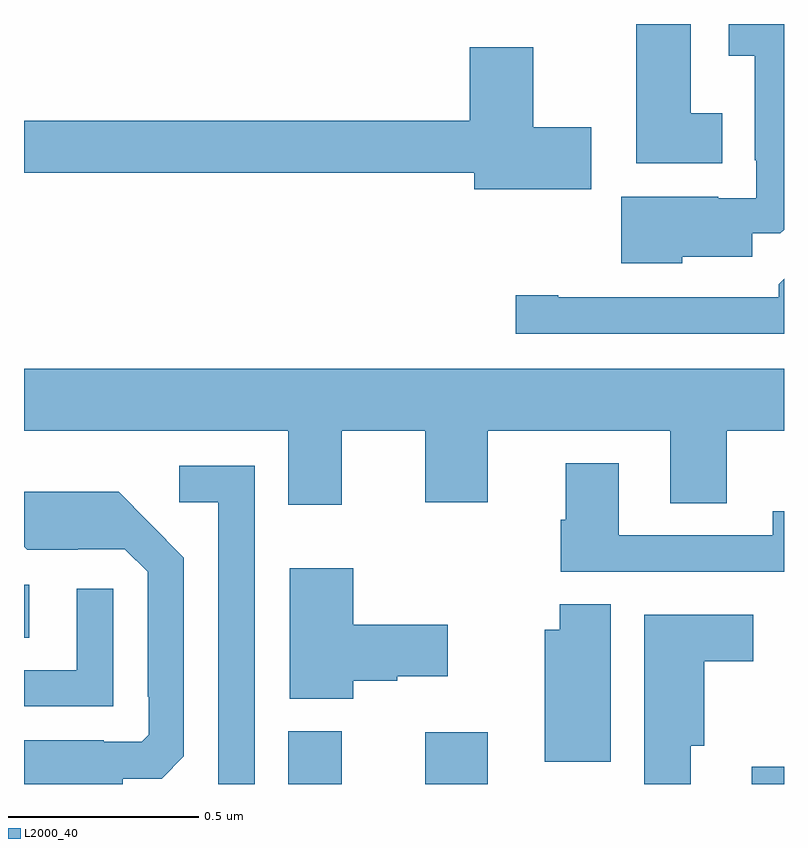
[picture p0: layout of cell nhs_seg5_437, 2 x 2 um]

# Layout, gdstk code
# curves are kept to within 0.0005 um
import gdstk
lib = gdstk.Library(unit=1e-6, precision=1e-09)
def R(c, l, rs):  # rectangles x0, y0, x1, y1
    for r in rs: c.add(gdstk.rectangle(r[:2], r[2:], *l))
def P(c, l, *ps):  # polygons
    for p in ps: c.add(gdstk.Polygon(p, *l))
L2000_40 = (2000, 40)

nhs_seg5_437 = lib.new_cell('nhs_seg5_437')
R(nhs_seg5_437, L2000_40, [(116.696,887.799,116.836,887.938), (117.056,887.799,117.22,887.935), (117.915,887.799,118,887.844), (116,888.184,116.014,888.324)])
P(nhs_seg5_437, L2000_40, [(117.838,889.564),(117.754,889.564),(117.754,889.799),(117.611,889.799),(117.611,889.433),(117.838,889.433)],
  [(117.732,889.187),(117.916,889.187),(117.916,889.248),(117.99,889.248),(118,889.258),(118,889.799),(117.854,889.799),(117.854,889.715),(117.923,889.715),(117.923,889.441),(117.927,889.441),(117.927,889.341),(117.827,889.341),(117.827,889.345),(117.572,889.345),(117.572,889.169),(117.732,889.169)],
  [(117.493,889.527),(117.34,889.527),(117.34,889.738),(117.173,889.738),(117.173,889.544),(116,889.544),(116,889.408),(117.185,889.408),(117.185,889.364),(117.493,889.364)],
  [(118,889.128),(117.986,889.114),(117.986,889.08),(117.406,889.08),(117.406,889.085),(117.294,889.085),(117.294,888.984),(118,888.984)],
  [(116.836,888.728),(117.056,888.728),(117.056,888.54),(117.22,888.54),(117.22,888.728),(117.701,888.728),(117.701,888.538),(117.849,888.538),(117.849,888.728),(118,888.728),(118,888.892),(116,888.892),(116,888.728),(116.696,888.728),(116.696,888.534),(116.836,888.534)],
  [(118,888.517),(117.97,888.517),(117.97,888.453),(117.565,888.453),(117.565,888.643),(117.425,888.643),(117.425,888.495),(117.413,888.495),(117.413,888.357),(118,888.357)],
  [(116.607,888.636),(116.409,888.636),(116.409,888.54),(116.511,888.54),(116.511,887.799),(116.607,887.799)],
  [(116.26,887.813),(116.362,887.813),(116.421,887.872),(116.421,888.394),(116.249,888.568),(116,888.568),(116,888.424),(116.008,888.416),(116.142,888.416),(116.142,888.417),(116.265,888.417),(116.325,888.357),(116.325,888.028),(116.328,888.028),(116.328,887.928),(116.31,887.91),(116.21,887.91),(116.21,887.914),(116,887.914),(116,887.799),(116.26,887.799)],
  [(116.866,888.071),(116.982,888.071),(116.982,888.083),(117.115,888.083),(117.115,888.218),(116.866,888.218),(116.866,888.367),(116.699,888.367),(116.699,888.023),(116.866,888.023)],
  [(116.235,888.313),(116.139,888.313),(116.139,888.099),(116,888.099),(116,888.003),(116.235,888.003)],
  [(117.544,888.272),(117.41,888.272),(117.41,888.205),(117.371,888.205),(117.371,887.858),(117.544,887.858)],
  [(117.754,887.9),(117.79,887.9),(117.79,888.122),(117.919,888.122),(117.919,888.244),(117.632,888.244),(117.632,887.799),(117.754,887.799)])

lib.write_gds('nhs_seg5_437.gds')
